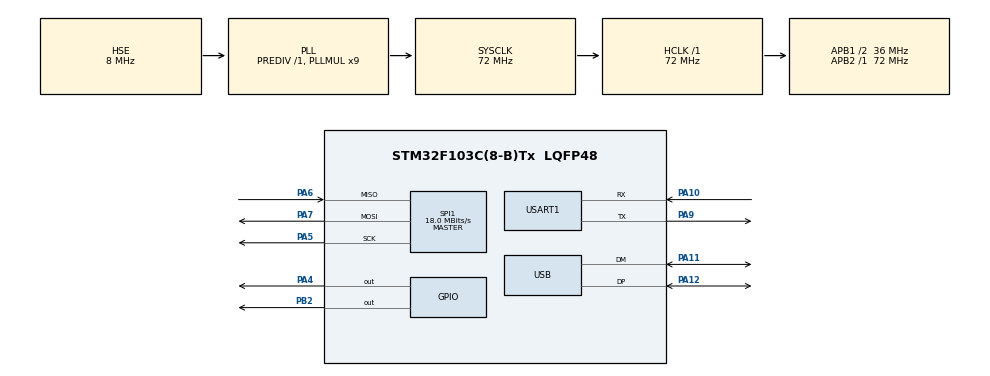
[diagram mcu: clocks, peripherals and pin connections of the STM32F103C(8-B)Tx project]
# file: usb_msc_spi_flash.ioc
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Dma.Request0=SPI1_RX
Dma.Request1=SPI1_TX
Dma.SPI1_RX.0.Direction=DMA_PERIPH_TO_MEMORY
Dma.SPI1_RX.0.Instance=DMA1_Channel2
Dma.SPI1_RX.0.MemDataAlignment=DMA_MDATAALIGN_BYTE
Dma.SPI1_RX.0.MemInc=DMA_MINC_ENABLE
Dma.SPI1_RX.0.Mode=DMA_NORMAL
Dma.SPI1_RX.0.PeriphDataAlignment=DMA_PDATAALIGN_BYTE
Dma.SPI1_RX.0.PeriphInc=DMA_PINC_DISABLE
Dma.SPI1_RX.0.Priority=DMA_PRIORITY_HIGH
Dma.SPI1_TX.1.Direction=DMA_MEMORY_TO_PERIPH
Dma.SPI1_TX.1.Instance=DMA1_Channel3
Dma.SPI1_TX.1.MemDataAlignment=DMA_MDATAALIGN_BYTE
Dma.SPI1_TX.1.MemInc=DMA_MINC_ENABLE
Dma.SPI1_TX.1.Mode=DMA_NORMAL
Dma.SPI1_TX.1.PeriphDataAlignment=DMA_PDATAALIGN_BYTE
Dma.SPI1_TX.1.PeriphInc=DMA_PINC_DISABLE
Dma.SPI1_TX.1.Priority=DMA_PRIORITY_HIGH
Mcu.Family=STM32F1
Mcu.Name=STM32F103C(8-B)Tx
Mcu.Package=LQFP48
NVIC.DMA1_Channel2_IRQn=true\:0\:0\:false\:false\:true\:false\:true\:true
NVIC.DMA1_Channel3_IRQn=true\:0\:0\:false\:false\:true\:false\:true\:true
NVIC.PriorityGroup=NVIC_PRIORITYGROUP_4
NVIC.USB_LP_CAN1_RX0_IRQn=true\:15\:0\:true\:false\:false\:true\:false\:true
PA10.Mode=Asynchronous
PA10.Signal=USART1_RX
PA11.Mode=Device
PA11.Signal=USB_DM
PA12.Mode=Device
PA12.Signal=USB_DP
PA13.Mode=Serial_Wire
PA13.Signal=SYS_JTMS-SWDIO
PA14.Mode=Serial_Wire
PA14.Signal=SYS_JTCK-SWCLK
PA4.Signal=GPIO_Output
PA5.Mode=Full_Duplex_Master
PA5.Signal=SPI1_SCK
PA6.Mode=Full_Duplex_Master
PA6.Signal=SPI1_MISO
PA7.Mode=Full_Duplex_Master
PA7.Signal=SPI1_MOSI
PA9.Mode=Asynchronous
PA9.Signal=USART1_TX
PB2.Signal=GPIO_Output
PC14-OSC32_IN.Mode=LSE-External-Oscillator
PC14-OSC32_IN.Signal=RCC_OSC32_IN
PC15-OSC32_OUT.Mode=LSE-External-Oscillator
PC15-OSC32_OUT.Signal=RCC_OSC32_OUT
PD0-OSC_IN.Mode=HSE-External-Oscillator
PD0-OSC_IN.Signal=RCC_OSC_IN
PD1-OSC_OUT.Mode=HSE-External-Oscillator
PD1-OSC_OUT.Signal=RCC_OSC_OUT
ProjectManager.HeapSize=0x200
ProjectManager.StackSize=0x400
ProjectManager.TargetToolchain=MDK-ARM V5.32
RCC.AHBFreq_Value=72000000
RCC.APB1CLKDivider=RCC_HCLK_DIV2
RCC.APB1Freq_Value=36000000
RCC.APB1TimFreq_Value=72000000
RCC.APB2Freq_Value=72000000
RCC.APB2TimFreq_Value=72000000
RCC.HCLKFreq_Value=72000000
RCC.PLLMUL=RCC_PLL_MUL9
RCC.PLLSourceVirtual=RCC_PLLSOURCE_HSE
RCC.SYSCLKFreq_VALUE=72000000
RCC.SYSCLKSource=RCC_SYSCLKSOURCE_PLLCLK
RCC.USBFreq_Value=48000000
RCC.USBPrescaler=RCC_USBCLKSOURCE_PLL_DIV1_5
SPI1.BaudRatePrescaler=SPI_BAUDRATEPRESCALER_4
SPI1.CRCCalculation=SPI_CRCCALCULATION_DISABLE
SPI1.CalculateBaudRate=18.0 MBits/s
SPI1.Direction=SPI_DIRECTION_2LINES
SPI1.Mode=SPI_MODE_MASTER
SPI1.VirtualType=VM_MASTER
USART1.VirtualMode=VM_ASYNC
board=custom

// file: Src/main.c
/* USER CODE BEGIN Header */
/**
  ******************************************************************************
  * @file           : main.c
  * @brief          : Main program body
  ******************************************************************************
  * @attention
  *
  * Copyright (c) 2023 STMicroelectronics.
  * All rights reserved.
  *
  * This software is licensed under terms that can be found in the LICENSE file
  * in the root directory of this software component.
  * If no LICENSE file comes with this software, it is provided AS-IS.
  *
  ******************************************************************************
  */
/* USER CODE END Header */
#include "main.h"
#include "dma.h"
#include "spi.h"
#include "usart.h"
#include "usb.h"
#include "gpio.h"

/* USER CODE BEGIN Includes */
#include "ff.h"
#include "sfud.h"
#include "usb_port_msc.h"
/* USER CODE END Includes */

/* USER CODE BEGIN PV */
FATFS fs = {0};
/* USER CODE END PV */

void SystemClock_Config(void);

/* USER CODE BEGIN 0 */
void handle_boot_count(void);

void fatfs_init(void);
/* USER CODE END 0 */

int main(void)
{

  /* MCU Configuration--------------------------------------------------------*/

  /* Reset of all peripherals, Initializes the Flash interface and the Systick. */
  HAL_Init();

  /* Configure the system clock */
  SystemClock_Config();

  /* Initialize all configured peripherals */
  MX_GPIO_Init();
  MX_DMA_Init();
  MX_SPI1_Init();
  MX_USART1_UART_Init();
  MX_USB_PCD_Init();
  /* USER CODE BEGIN 2 */
  printf("\r\n[MCU] STM32F103C8T6\r\n");
  printf("[MCU] Chip ID: %08x\r\n", HAL_GetUIDw0());
  printf("[MCU] SysClockFreq: %uHz\r\n", HAL_RCC_GetSysClockFreq());
  if (sfud_init() != SFUD_SUCCESS) {
    printf("[MCU] Falied to init sfud, abort!\r\n");
    abort();
  }
  fatfs_init();
  handle_boot_count();
  usb_port_msc_storage_init();
  /* USER CODE END 2 */

  /* Infinite loop */
  while (1)
  {

    /* USER CODE BEGIN 3 */
    printf("Hello World!\r\n");
    HAL_GPIO_TogglePin(GPIOB, GPIO_PIN_2);
    HAL_Delay(500);
  }
  /* USER CODE END 3 */
}

void SystemClock_Config(void)
{
  RCC_OscInitTypeDef RCC_OscInitStruct = {0};
  RCC_ClkInitTypeDef RCC_ClkInitStruct = {0};
  RCC_PeriphCLKInitTypeDef PeriphClkInit = {0};

  /** Initializes the RCC Oscillators according to the specified parameters
  * in the RCC_OscInitTypeDef structure.
  */
  RCC_OscInitStruct.OscillatorType = RCC_OSCILLATORTYPE_HSE;
  RCC_OscInitStruct.HSEState = RCC_HSE_ON;
  RCC_OscInitStruct.HSEPredivValue = RCC_HSE_PREDIV_DIV1;
  RCC_OscInitStruct.HSIState = RCC_HSI_ON;
  RCC_OscInitStruct.PLL.PLLState = RCC_PLL_ON;
  RCC_OscInitStruct.PLL.PLLSource = RCC_PLLSOURCE_HSE;
  RCC_OscInitStruct.PLL.PLLMUL = RCC_PLL_MUL9;
  if (HAL_RCC_OscConfig(&RCC_OscInitStruct) != HAL_OK)
  {
    Error_Handler();
  }

  /** Initializes the CPU, AHB and APB buses clocks
  */
  RCC_ClkInitStruct.ClockType = RCC_CLOCKTYPE_HCLK|RCC_CLOCKTYPE_SYSCLK
                              |RCC_CLOCKTYPE_PCLK1|RCC_CLOCKTYPE_PCLK2;
  RCC_ClkInitStruct.SYSCLKSource = RCC_SYSCLKSOURCE_PLLCLK;
  RCC_ClkInitStruct.AHBCLKDivider = RCC_SYSCLK_DIV1;
  RCC_ClkInitStruct.APB1CLKDivider = RCC_HCLK_DIV2;
  RCC_ClkInitStruct.APB2CLKDivider = RCC_HCLK_DIV1;

  if (HAL_RCC_ClockConfig(&RCC_ClkInitStruct, FLASH_LATENCY_2) != HAL_OK)
  {
    Error_Handler();
  }
  PeriphClkInit.PeriphClockSelection = RCC_PERIPHCLK_USB;
  PeriphClkInit.UsbClockSelection = RCC_USBCLKSOURCE_PLL_DIV1_5;
  if (HAL_RCCEx_PeriphCLKConfig(&PeriphClkInit) != HAL_OK)
  {
    Error_Handler();
  }
}

/* USER CODE BEGIN 4 */
void fatfs_init(void) {
  FRESULT rc = f_mount(&fs, "0:", 1);
  if (rc != FR_OK) {
    if (rc == FR_NO_FILESYSTEM) {
      printf("[FATFS] no file system, abort!\r\n");
    } else {
      printf("[FATFS] rc= %u: failed to mount flash, abort!\r\n", rc);
    }
    abort();
  }
  printf("[FATFS] fs mount successful.\r\n");
}

static FIL boot_count_file = {0};
static TCHAR boot_count_buffer[32] = {0};
void handle_boot_count(void) {
  UINT n;
  TCHAR* rp = NULL;
  volatile FRESULT rc;
  uint32_t boot_count = 0;
  // open file
  rc = f_open(&boot_count_file, "/boot_count", FA_READ|FA_WRITE|FA_OPEN_ALWAYS);
  if (rc != FR_OK) {
    printf("rc=%u: failed to open boot_count.\r\n", rc);
    return;
  }
  // getline
  rp = f_gets(boot_count_buffer, 32, &boot_count_file);
  if (rp != boot_count_buffer) {
    printf("[MCU] failed to read boot_count.\r\n");
  }
  // get boot count
  sscanf(boot_count_buffer, "%u", &boot_count);
  boot_count += 1;
  memset(boot_count_buffer, 0, 32);
  sprintf(boot_count_buffer, "%u", boot_count);
  // write new boot count
  rc = f_rewind(&boot_count_file);
  if (rc != FR_OK) {
    printf("[MCU] rc=%u: failed to rewind boot_count.\r\n", rc);
  }
  rc = f_write(&boot_count_file, &boot_count_buffer, strlen(boot_count_buffer), &n);
  if (rc != FR_OK) {
    printf("[MCU] rc=%u: failed to write boot_count.\r\n", rc);
  }
  if(n != strlen(boot_count_buffer)) {
    printf("[MCU] write wrong size of data: %u, expect %u!\r\n", n, sizeof(boot_count));
  }
  // close file
  rc = f_close(&boot_count_file);
  if (rc != FR_OK) {
    printf("[MCU] rc=%u: failed to close boot_count.\r\n", rc);
  }
  printf("[MCU] boot count: %u\r\n", boot_count);
}
/* USER CODE END 4 */

void Error_Handler(void)
{
  __disable_irq();
  while (1)
  {
  }
}
